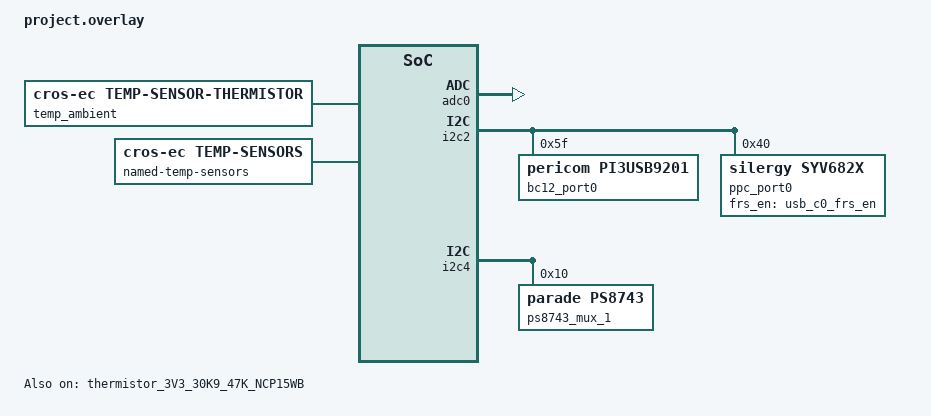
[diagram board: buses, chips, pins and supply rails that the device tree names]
/* Copyright 2022 The ChromiumOS Authors
 * Use of this source code is governed by a BSD-style license that can be
 * found in the LICENSE file.
 */

/* Corsola program common DTS includes */

#include <cros/thermistor/thermistor.dtsi>
#include "../common.dtsi"
#include "../power_signal.dtsi"
#include "../usba.dtsi"
#include "../ite_adc.dtsi"
#include "../ite_gpio.dtsi"
#include "../ite_keyboard.dtsi"
#include "../ite_i2c.dtsi"
#include "../ite_interrupts.dtsi"
#include "../ite_led.dtsi"
#include "../ite_motionsense.dtsi"
#include "../ite_usbc.dtsi"
#include "../ite_shi.dtsi"

/ {
	aliases {
		/*
		 * motion sense's <>_INT_EVENT is handled
		 * by alias. Using the alias, each driver creates
		 * its own <>_INT_EVENT.
		 */
		bmi3xx-int = &base_accel;
	};

	named-gpios {
		/delete-node/ usb_c0_ppc_bc12_int_odl;

		usb_c0_ppc_int_odl: usb_c0_ppc_int_odl {
			gpios = <&gpiod 1 GPIO_INPUT>;
			enum-name = "GPIO_USB_C0_PPC_INT_ODL";
		};

		usb_c0_bc12_int_odl: usb_c0_bc12_int_odl {
			gpios = <&gpiof 1 GPIO_INPUT>;
			enum-name = "GPIO_USB_C0_BC12_INT_ODL";
		};

		/delete-node/ usb_c0_ppc_frsinfo;

		usb_c0_frs_en: usb_c0_frs_en {
			gpios = <&gpiof 0 GPIO_OUTPUT_LOW>;
			enum-name = "GPIO_USB_C0_FRS_EN";
		};
	};

	unused-pins {
		unused-gpios =
			/* pg_pp5000_z2_od */
			<&gpiod 2 GPIO_INPUT>,
			/* pg_mt6315_proc_b_odl */
			<&gpioe 1 GPIO_INPUT>,
			/* ec_pen_chg_dis_odl */
			<&gpioh 3 GPIO_ODR_HIGH>,
			/* unnamed nc pins */
			<&gpioa 3 GPIO_INPUT_PULL_DOWN>,
			<&gpioa 6 GPIO_INPUT_PULL_DOWN>,
			<&gpioa 7 GPIO_INPUT_PULL_DOWN>,
			/* reserved for b:241345809 */
			<&gpiod 7 GPIO_OUTPUT_LOW>,
			<&gpiog 2 GPIO_INPUT_PULL_DOWN>,
			<&gpioh 0 GPIO_INPUT_PULL_DOWN>,
			<&gpioh 6 GPIO_INPUT_PULL_DOWN>,
			<&gpioi 3 GPIO_INPUT_PULL_DOWN>,
			<&gpioi 6 GPIO_INPUT_PULL_DOWN>,
			<&gpiom 6 (GPIO_INPUT_PULL_DOWN | GPIO_VOLTAGE_1P8)>,
			/* spi_clk_gpg6 */
			<&gpiog 6 GPIO_INPUT_PULL_UP>,
			/* spi_mosi_gpg4 */
			<&gpiog 4 GPIO_OUTPUT_LOW>,
			/* spi_miso_gpg5 */
			<&gpiog 5 GPIO_OUTPUT_LOW>,
			/* spi_cs_gpg7 */
			<&gpiog 7 GPIO_OUTPUT_LOW>;
	};

	gpio-interrupts {
		int_base_imu: base_imu {
			handler = "motion_interrupt";
		};

		/delete-node/ usb_c0_ppc_bc12;

		int_usb_c0_ppc: usb_c0_ppc {
			irq-pin = <&usb_c0_ppc_int_odl>;
			flags = <GPIO_INT_EDGE_FALLING>;
			handler = "ppc_interrupt";
		};

		int_usb_c0_bc12: usb_c0_bc12 {
			irq-pin = <&usb_c0_bc12_int_odl>;
			flags = <GPIO_INT_EDGE_FALLING>;
			handler = "bc12_interrupt";
		};
	};


	usbc {
		port0@0 {
			bc12 = <&bc12_port0>;
			ppc = <&ppc_port0>;
		};

		port1@1 {
			usb-mux-chain-1 {
				usb-muxes = <&ps8743_mux_1 &virtual_mux_1>;
			};
		};
	};

	named-adc-channels {
		compatible = "named-adc-channels";
		adc_ambient: ambient {
			enum-name = "ADC_TEMP_SENSOR_2_AMBIENT";
			io-channels = <&adc0 5>;
		};
	};


	temp_ambient: ambient {
		compatible = "cros-ec,temp-sensor-thermistor";
		thermistor = <&thermistor_3V3_30K9_47K_NCP15WB>;
		adc = <&adc_ambient>;
	};

	named-temp-sensors {
		compatible = "cros-ec,temp-sensors";
		ambient {
			sensor = <&temp_ambient>;
		};
	};

	/*
	 * Declare mutexes used by sensor drivers.
	 * A mutex node is used to create an instance of mutex_t.
	 * A mutex node is referenced by a sensor node if the
	 * corresponding sensor driver needs to use the
	 * instance of the mutex.
	 */
	motionsense-mutex {
		base_mutex_bmi323: bmi323-mutex {
		};
	};

	/* Rotation matrix used by drivers. */
	motionsense-rotation-ref {
		lid_rot_ref: lid-rotation-ref {
			mat33 = <1 0 0
				 0 1 0
				 0 0 (-1)>;
		};

		base_rot_ref_bmi: base-rotation-ref-bmi {
			mat33 = <0 1 0
				 (-1) 0 0
				 0 0 1>;
		};
	};

	/*
	 * Driver specific data. A driver-specific data can be shared with
	 * different motion sensors while they are using the same driver.
	 *
	 * If a node's compatible starts with "cros-ec,accelgyro-", it is for
	 * a common structure defined in accelgyro.h.
	 * e.g) compatible = "cros-ec,accelgyro-als-drv-data" is for
	 * "struct als_drv_data_t" in accelgyro.h
	 */
	motionsense-sensor-data {
		bmi323_data: bmi323-drv-data {
			compatible = "cros-ec,drvdata-bmi3xx";
			status = "okay";
		};
	};

	motionsense-sensor-alt {
		alt_base_accel: alt-base-accel {
			compatible = "cros-ec,bmi3xx-accel";
			status = "okay";

			active-mask = "SENSOR_ACTIVE_S0_S3";
			location = "MOTIONSENSE_LOC_BASE";
			mutex = <&base_mutex_bmi323>;
			port = <&i2c_sensor>;
			rot-standard-ref = <&base_rot_ref_bmi>;
			drv-data = <&bmi323_data>;
			alternate-for = <&base_accel>;
			configs {
				compatible =
					"cros-ec,motionsense-sensor-config";
				ec-s0 {
					odr = <(10000 | ROUND_UP_FLAG)>;
				};
				ec-s3 {
					odr = <(10000 | ROUND_UP_FLAG)>;
				};
			};
		};

		alt_base_gyro: alt-base-gyro {
			compatible = "cros-ec,bmi3xx-gyro";
			status = "okay";

			active-mask = "SENSOR_ACTIVE_S0_S3";
			location = "MOTIONSENSE_LOC_BASE";
			mutex = <&base_mutex_bmi323>;
			port = <&i2c_sensor>;
			rot-standard-ref = <&base_rot_ref_bmi>;
			drv-data = <&bmi323_data>;
			alternate-for = <&base_gyro>;
		};
	};

	led-colors {
		compatible = "cros-ec,led-policy";

		/* Magikarp LED bat charge */
		bat-power-state-charge {
			charge-state = "LED_PWRS_CHARGE";
			/* Battery percent range (>= Empty, <= 94%) */
			batt-lvl = <BATTERY_LEVEL_EMPTY 94>;

			battery-led {
				led-id = "EC_LED_ID_BATTERY_LED";
				color-0 {
					led-color = "LED_AMBER";
				};
			};
		};

		bat-power-state-charge-near-full {
			charge-state = "LED_PWRS_CHARGE";
			/* Battery percent range (>= 95%, <= Full) */
			batt-lvl = <95 BATTERY_LEVEL_FULL>;

			battery-led {
				led-id = "EC_LED_ID_BATTERY_LED";
				color-0 {
					led-color = "LED_WHITE";
				};
			};
		};

		/* Magikarp LED bat discharge */
		bat-power-state-discharge-s0 {
			charge-state = "LED_PWRS_DISCHARGE";
			chipset-state = "POWER_S0";
			/* Battery percent range (>= 11%, <= Full) */
			batt-lvl = <(BATTERY_LEVEL_LOW + 1) BATTERY_LEVEL_FULL>;

			battery-led {
				led-id = "EC_LED_ID_BATTERY_LED";

				color-0 {
					led-color = "LED_WHITE";
				};
			};
		};


		bat-power-state-discharge-s0-bat-low {
			charge-state = "LED_PWRS_DISCHARGE";
			chipset-state = "POWER_S0";
			/* Battery percent range (>= Empty, <= 10%) */
			batt-lvl = <BATTERY_LEVEL_EMPTY BATTERY_LEVEL_LOW>;

			battery-led {
				led-id = "EC_LED_ID_BATTERY_LED";

				color-0 {
					led-color = "LED_AMBER";
					period-ms = <1000>;
				};

				color-1 {
					led-color = "LED_OFF";
					period-ms = <3000>;
				};
			};
		};

		bat-power-state-discharge-s3 {
			charge-state = "LED_PWRS_DISCHARGE";
			chipset-state = "POWER_S3";

			battery-led {
				led-id = "EC_LED_ID_BATTERY_LED";

				color-0 {
					led-color = "LED_WHITE";
					period-ms = <1000>;
				};

				color-1 {
					led-color = "LED_OFF";
					period-ms = <3000>;
				};
			};
		};

		bat-power-state-discharge-s5 {
			charge-state = "LED_PWRS_DISCHARGE";
			chipset-state = "POWER_S5";

			battery-led {
				led-id = "EC_LED_ID_BATTERY_LED";
				color-0 {
					led-color = "LED_OFF";
				};
			};
		};

		/* Magikarp LED bat error */
		bat-power-state-error {
			charge-state = "LED_PWRS_ERROR";
			chipset-state = "POWER_S0";

			battery-led {
				led-id = "EC_LED_ID_BATTERY_LED";

				color-0 {
					led-color = "LED_AMBER";
					period-ms = <1000>;
				};

				color-1 {
					led-color = "LED_OFF";
					period-ms = <1000>;
				};
			};
		};

		bat-power-state-error-s3 {
			charge-state = "LED_PWRS_ERROR";
			chipset-state = "POWER_S3";

			battery-led {
				led-id = "EC_LED_ID_BATTERY_LED";

				color-0 {
					led-color = "LED_WHITE";
					period-ms = <1000>;
				};

				color-1 {
					led-color = "LED_OFF";
					period-ms = <3000>;
				};
			};
		};

		bat-power-state-error-s5 {
			charge-state = "LED_PWRS_ERROR";
			chipset-state = "POWER_S5";

			battery-led {
				led-id = "EC_LED_ID_BATTERY_LED";

				color-0 {
					led-color = "LED_OFF";
				};
			};
		};
	};

	pwm-led-pins {
		compatible = "cros-ec,pwm-led-pins";

		power_led: power-led {
			led-id = "EC_LED_ID_POWER_LED";
			led-pwms = <&led_power_white>;

			/* Overwrite Power LED white to off */
			color-power-white {
				led-color = "LED_WHITE";
				led-values = <0>;
			};
		};
	};

	batteries {
		default_battery: smp_c31n1915 {
			compatible = "smp,c31n1915", "battery-smart";
		};
	};

	/* magikarp-specific fw_config fields. */
	magikarp-fw-config {
		compatible = "cros-ec,cbi-fw-config";
		/*
		 * FW_CONFIG field to describe mainboard orientation in chassis.
		 */
		base-gyro {
			enum-name = "FW_BASE_GYRO";
			start = <0>;
			size = <2>;

			None {
				compatible = "cros-ec,cbi-fw-config-value";
				enum-name = "FW_BASE_NONE";
				value = <0>;
			};
			icm42607 {
				compatible = "cros-ec,cbi-fw-config-value";
				enum-name = "FW_BASE_ICM42607";
				value = <1>;
				default;
			};
			bmi323 {
				compatible = "cros-ec,cbi-fw-config-value";
				enum-name = "FW_BASE_BMI323";
				value = <2>;
			};
		};
	};
};

&adc0 {
	status = "okay";
	pinctrl-0 = <&adc0_ch0_gpi0_default
		     &adc0_ch1_gpi1_default
		     &adc0_ch2_gpi2_default
		     &adc0_ch5_gpi5_default
		     &adc0_ch7_gpi7_default>;
	pinctrl-names = "default";
};

&thermistor_3V3_30K9_47K_NCP15WB {
	status = "okay";
};

&i2c2 {
	bc12_port0: pi3usb9201@5f {
		compatible = "pericom,pi3usb9201";
		status = "okay";
		reg = <0x5f>;
		irq = <&int_usb_c0_bc12>;
	};
	ppc_port0: syv682x@40 {
		compatible = "silergy,syv682x";
		status = "okay";
		reg = <0x40>;
		frs_en_gpio = <&usb_c0_frs_en>;
	};
};

&i2c4 {
	ps8743_mux_1: ps8743-mux-1@10 {
		compatible = "parade,ps8743";
		reg = <0x10>;
	};

	/delete-node/ tusb1064-mux-1;
};
